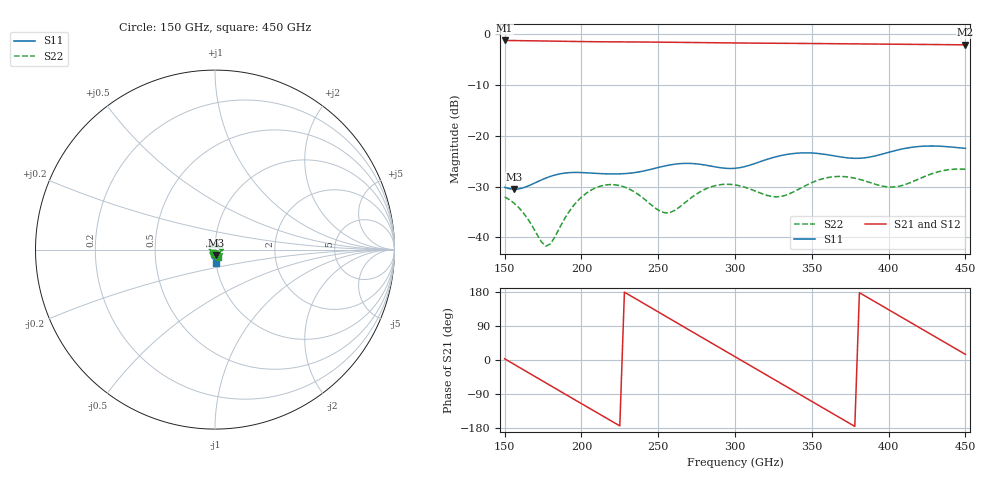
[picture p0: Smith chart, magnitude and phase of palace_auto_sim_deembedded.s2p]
! Created with skrf 1.11.0 (http://scikit-rf.org).
# GHz S DB R 50.0
!freq dBS11 angS11 dBS21 angS21 dBS12 angS12 dBS22 angS22
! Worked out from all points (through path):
!   101 points, 150 GHz to 450 GHz, reference 50 ohm
!   highest |S21| = -1.22 dB at 150 GHz (marker M1); lowest = -2.1 dB at 450 GHz (marker M2)
!   group delay of S21, straight-line fit = 6.56 ps
!   lowest |S11| = -30.5 dB at 156 GHz (marker M3), VSWR 1.06, Z = 50.4 - j2.97 ohm
!   |S11| at or under -10 dB: start of sweep to end of sweep
!   |S22| runs from -41.7 to -26.5 dB; largest |S21 - S12| = 9.8e-14
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150  -30.14 -86.0  -1.22 3.2  -1.22 3.2  -32.02 -84.1
156  -30.51 -80.4  -1.25 -11.0  -1.25 -11.0  -33.23 -100.4
177  -28.29 -70.5  -1.33 -60.7  -1.33 -60.7  -41.72 145.6
189  -27.34 -75.8  -1.39 -89.1  -1.39 -89.1  -36.34 54.5
201  -27.24 -80.8  -1.44 -117.4  -1.44 -117.4  -31.82 8.3
216  -27.48 -81.9  -1.49 -152.7  -1.49 -152.7  -29.66 -41.1
228  -27.44 -79.9  -1.51 179.0  -1.51 179.0  -30.07 -82.5
240  -26.96 -77.2  -1.53 150.6  -1.53 150.6  -32.21 -131.2
252  -26.09 -77.3  -1.56 122.2  -1.56 122.2  -34.94 161.4
273  -25.47 -84.8  -1.63 72.5  -1.63 72.5  -31.86 36.8
288  -26.16 -86.1  -1.68 37.1  -1.68 37.1  -29.74 -23.6
300  -26.39 -80.3  -1.71 8.7  -1.71 8.7  -29.66 -69.5
315  -25.23 -74.1  -1.75 -26.6  -1.75 -26.6  -31.09 -135.1
330  -23.88 -76.6  -1.78 -62.0  -1.78 -62.0  -31.93 141.2
351  -23.40 -85.2  -1.83 -111.6  -1.83 -111.6  -29.09 32.9
366  -24.01 -87.6  -1.86 -147.0  -1.86 -147.0  -28.01 -29.5
378  -24.43 -84.0  -1.90 -175.3  -1.90 -175.3  -28.34 -79.3
390  -24.04 -78.4  -1.93 156.4  -1.93 156.4  -29.41 -134.7
402  -23.09 -76.7  -1.96 128.1  -1.96 128.1  -30.09 161.0
414  -22.31 -79.0  -1.99 99.8  -1.99 99.8  -29.23 95.3
426  -22.00 -82.8  -2.02 71.5  -2.02 71.5  -27.70 37.2
450  -22.46 -85.5  -2.08 14.9  -2.08 14.9  -26.58 -65.5
